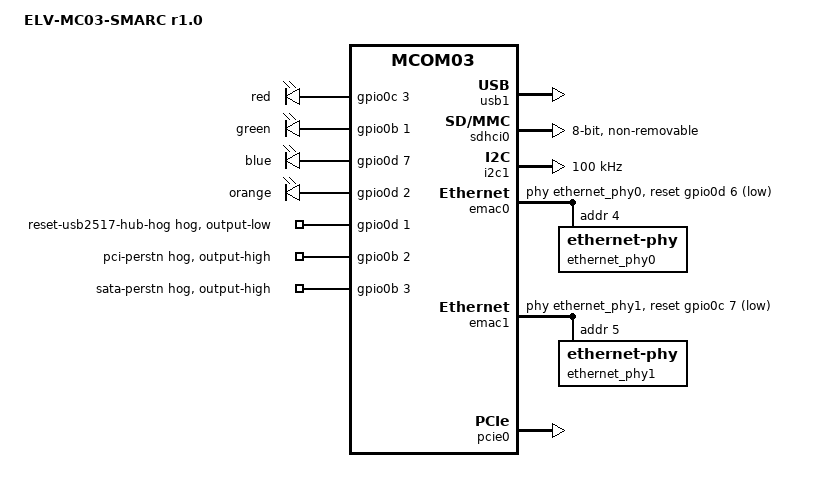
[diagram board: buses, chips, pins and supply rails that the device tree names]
// SPDX-License-Identifier: GPL-2.0+
/*
 * Copyright 2021 RnD Center "ELVEES", JSC
 */

/dts-v1/;

#include "mcom03.dtsi"

/ {
	model = "ELV-MC03-SMARC r1.0";
	compatible = "elvees,elvmc03smarc-r1.0",
		     "elvees,elvmc03smarc",
		     "elvees,mcom03";

	elvmc03smarc-leds {
		compatible = "gpio-leds";

		red {
			gpios = <&gpio0c 3 GPIO_ACTIVE_HIGH>;
			default-state = "off";
		};

		green {
			gpios = <&gpio0b 1 GPIO_ACTIVE_HIGH>;
			default-state = "off";
		};

		blue {
			gpios = <&gpio0d 7 GPIO_ACTIVE_HIGH>;
			default-state = "off";
		};

		orange {
			gpios = <&gpio0d 2 GPIO_ACTIVE_HIGH>;
			default-state = "on";
			linux,default-trigger = "heartbeat";
		};
	};
};

&gpio0d {
	reset-usb2517-hub-hog {
		gpio-hog;
		gpios = <1 GPIO_ACTIVE_HIGH>;
		output-low;
	};
};

/* Connected to USB 2.0 hub on ELV-MC03-SMARC */
&usb1 {
	status = "okay";
};

&sdhci0 {
	status = "okay";

	/* Unstable at 25 MHz */
	max-frequency = <12000000>;
	non-removable;
	bus-width = <8>;

	/* HS, SDR50, SDR104 and DDR50 are not supported yet */
	sdhci-caps-mask = <0x7 0x200000>;
};

&i2c1 {
	/* Not all devices are checked to 400kHz support */
	clock-frequency = <100000>;
	status = "okay";

	adv7513: hdmi@39 {
		compatible = "adi,adv7513";
		status = "disabled";
		reg = <0x39>, <0x3f>;
		reg-names = "main", "edid";
		interrupt-parent = <&gpio1a>;
		interrupts = <6 IRQ_TYPE_EDGE_FALLING>;
		adi,input-depth = <8>;
		adi,input-colorspace = "rgb";
		adi,input-clock = "1x";
		#address-cells = <1>;
		#size-cells = <0>;

		port@0 {
			reg = <0>;
			adv7513_in: endpoint {
				remote-endpoint = <&rgb_out>;
			};
		};
	};
};

&emac0 {
	phy-handle = <&ethernet_phy0>;
	reset-gpios = <&gpio0d 6 GPIO_ACTIVE_LOW>;
	reset-post-delay-us = <200>;

	ethernet_phy0: ethernet-phy@4 {
		reg = <0x4>;
		ti,rx-internal-delay = <DP83867_RGMIIDCTL_2_00_NS>;
		ti,tx-internal-delay = <DP83867_RGMIIDCTL_2_00_NS>;
		ti,fifo-depth = <DP83867_PHYCR_FIFO_DEPTH_4_B_NIB>;
	};
};

&emac1 {
	phy-handle = <&ethernet_phy1>;
	reset-gpios = <&gpio0c 7 GPIO_ACTIVE_LOW>;
	reset-post-delay-us = <200>;

	ethernet_phy1: ethernet-phy@5 {
		reg = <0x5>;
		ti,rx-internal-delay = <DP83867_RGMIIDCTL_2_50_NS>;
		ti,tx-internal-delay = <DP83867_RGMIIDCTL_2_50_NS>;
		ti,fifo-depth = <DP83867_PHYCR_FIFO_DEPTH_4_B_NIB>;
	};
};

&gpio0b {
	pci-perstn {
		gpio-hog;
		gpios = <2 GPIO_ACTIVE_HIGH>;
		output-high;
	};

	sata-perstn {
		gpio-hog;
		gpios = <3 GPIO_ACTIVE_HIGH>;
		output-high;
	};
};

&display_encoder {
	ports {
		port@2 {
			reg = <2>;

			rgb_out: endpoint {
				remote-endpoint = <&adv7513_in>;
			};
		};
	};
};

&pcie0 {
	status = "okay";
};
